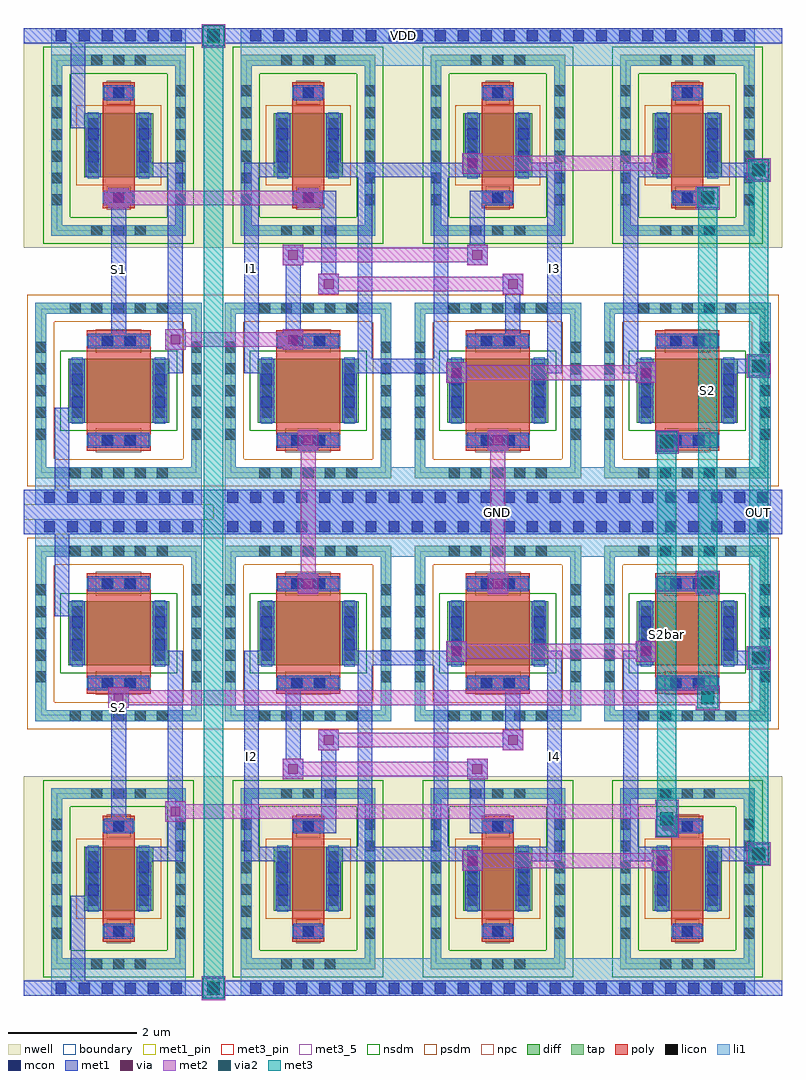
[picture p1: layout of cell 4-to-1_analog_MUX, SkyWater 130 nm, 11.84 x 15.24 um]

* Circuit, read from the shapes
.subckt 4-to-1_analog_MUX GND I1 I2 I3 I4 OUT S1 S2 S2bar VDD
XM1 S2bar S2 GND GND sky130_fd_pr__nfet_01v8 w=1 l=1
XM2 Inverter_7/Vout S1 GND GND sky130_fd_pr__nfet_01v8 w=1 l=1
XM3 n1 Inverter_7/Vout I2 GND sky130_fd_pr__nfet_01v8 w=1 l=1
XM4 n2 Inverter_7/Vout I1 GND sky130_fd_pr__nfet_01v8 w=1 l=1
XM5 I4 S1 n1 GND sky130_fd_pr__nfet_01v8 w=1 l=1
XM6 I3 S1 n2 GND sky130_fd_pr__nfet_01v8 w=1 l=1
XM7 OUT S2 n1 GND sky130_fd_pr__nfet_01v8 w=1 l=1
XM8 OUT S2bar n2 GND sky130_fd_pr__nfet_01v8 w=1 l=1
XM9 S2bar S2 VDD VDD sky130_fd_pr__pfet_01v8 w=1 l=0.5
XM10 Inverter_7/Vout S1 VDD VDD sky130_fd_pr__pfet_01v8 w=1 l=0.5
XM11 n1 S1 I2 VDD sky130_fd_pr__pfet_01v8 w=1 l=0.5
XM12 n2 S1 I1 VDD sky130_fd_pr__pfet_01v8 w=1 l=0.5
XM13 I4 Inverter_7/Vout n1 VDD sky130_fd_pr__pfet_01v8 w=1 l=0.5
XM14 I3 Inverter_7/Vout n2 VDD sky130_fd_pr__pfet_01v8 w=1 l=0.5
XM15 OUT S2bar n1 VDD sky130_fd_pr__pfet_01v8 w=1 l=0.5
XM16 OUT S2 n2 VDD sky130_fd_pr__pfet_01v8 w=1 l=0.5
.ends

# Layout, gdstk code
import gdstk
lib = gdstk.Library(unit=1e-6, precision=1e-09)
def R(c, l, rs):  # rectangles x0, y0, x1, y1
    for r in rs: c.add(gdstk.rectangle(r[:2], r[2:], *l))
def A(c, l, x, y, w, h, nx, ny, dx, dy):  # array of equal rectangles
    R(c, l, [(x+i*dx, y+j*dy, x+i*dx+w, y+j*dy+h) for i in range(nx) for j in range(ny)])
nwell = (64, 20)
diff = (65, 20)
tap = (65, 44)
poly = (66, 20)
licon = (66, 44)
li1 = (67, 20)
mcon = (67, 44)
met1_pin = (68, 16)
met1 = (68, 20)
via = (68, 44)
met2 = (69, 20)
via2 = (69, 44)
met3_5 = (70, 5)
met3_pin = (70, 16)
met3 = (70, 20)
nsdm = (93, 44)
psdm = (94, 20)
npc = (95, 20)
boundary = (235, 4)

sky130_fd_pr__pfet_01v8_ = lib.new_cell('sky130_fd_pr__pfet_01v8_U6BDKB')
R(sky130_fd_pr__pfet_01v8_, nwell, [(-1.23,-1.595,1.23,1.595)])
R(sky130_fd_pr__pfet_01v8_, diff, [(-0.54,-0.5,0.54,0.5)])
R(sky130_fd_pr__pfet_01v8_, tap, [(-1.05,-1.415,1.05,-1.245), (-1.05,-1.245,-0.88,1.245), (0.88,-1.245,1.05,1.245), (-1.05,1.245,1.05,1.415)])
R(sky130_fd_pr__pfet_01v8_, poly, [(-0.25,-0.985,0.25,0.985)])
A(sky130_fd_pr__pfet_01v8_, licon, -0.425, -1.415, 0.17, 0.17, 3, 2, 0.34, 2.66)
A(sky130_fd_pr__pfet_01v8_, licon, -1.05, -0.935, 0.17, 0.17, 1, 6, 0, 0.34)
A(sky130_fd_pr__pfet_01v8_, licon, 0.88, -0.935, 0.17, 0.17, 1, 6, 0, 0.34)
A(sky130_fd_pr__pfet_01v8_, licon, -0.48, -0.425, 0.17, 0.17, 1, 3, 0, 0.34)
A(sky130_fd_pr__pfet_01v8_, licon, 0.31, -0.425, 0.17, 0.17, 1, 3, 0, 0.34)
R(sky130_fd_pr__pfet_01v8_, licon, [(-0.085,-0.905,0.085,-0.735), (-0.085,0.735,0.085,0.905)])
R(sky130_fd_pr__pfet_01v8_, li1, [(-1.05,-1.415,1.05,-1.245), (-1.05,-1.245,-0.88,1.245), (0.88,-1.245,1.05,1.245), (-0.25,-0.905,0.25,-0.735), (-0.48,-0.52,-0.31,0.52), (0.31,-0.52,0.48,0.52), (-0.25,0.735,0.25,0.905), (-1.05,1.245,1.05,1.415)])
R(sky130_fd_pr__pfet_01v8_, mcon, [(-0.085,-0.905,0.085,-0.735), (-0.48,-0.265,-0.31,-0.095), (0.31,-0.265,0.48,-0.095), (-0.48,0.095,-0.31,0.265), (0.31,0.095,0.48,0.265), (-0.085,0.735,0.085,0.905)])
R(sky130_fd_pr__pfet_01v8_, met1, [(-0.23,-0.935,0.23,-0.705), (-0.51,-0.5,-0.28,0.5), (0.28,-0.5,0.51,0.5), (-0.23,0.705,0.23,0.935)])
R(sky130_fd_pr__pfet_01v8_, nsdm, [(-1.175,-1.54,1.175,-1.12), (-1.175,-1.12,-0.755,1.12), (0.755,-1.12,1.175,1.12), (-1.175,1.12,1.175,1.54)])
R(sky130_fd_pr__pfet_01v8_, psdm, [(-0.665,-0.625,0.665,0.625)])
R(sky130_fd_pr__pfet_01v8_, npc, [(-0.185,-1.005,0.185,-0.635), (-0.185,0.635,0.185,1.005)])
R(sky130_fd_pr__pfet_01v8_, boundary, [(-0.965,-1.33,0.965,1.33)])

sky130_fd_pr__nfet_01v8_ = lib.new_cell('sky130_fd_pr__nfet_01v8_JZTGL9')
R(sky130_fd_pr__nfet_01v8_, diff, [(-0.79,-0.5,0.79,0.5)])
R(sky130_fd_pr__nfet_01v8_, tap, [(-1.3,-1.37,1.3,-1.2), (-1.3,-1.2,-1.13,1.2), (1.13,-1.2,1.3,1.2), (-1.3,1.2,1.3,1.37)])
R(sky130_fd_pr__nfet_01v8_, poly, [(-0.5,-0.94,0.5,0.94)])
A(sky130_fd_pr__nfet_01v8_, licon, -0.765, -1.37, 0.17, 0.17, 5, 2, 0.34, 2.57)
A(sky130_fd_pr__nfet_01v8_, licon, -1.3, -0.765, 0.17, 0.17, 1, 5, 0, 0.34)
A(sky130_fd_pr__nfet_01v8_, licon, 1.13, -0.765, 0.17, 0.17, 1, 5, 0, 0.34)
A(sky130_fd_pr__nfet_01v8_, licon, -0.73, -0.425, 0.17, 0.17, 1, 3, 0, 0.34)
A(sky130_fd_pr__nfet_01v8_, licon, 0.56, -0.425, 0.17, 0.17, 1, 3, 0, 0.34)
R(sky130_fd_pr__nfet_01v8_, licon, [(-0.255,-0.86,-0.085,-0.69), (0.085,-0.86,0.255,-0.69), (-0.255,0.69,-0.085,0.86), (0.085,0.69,0.255,0.86)])
R(sky130_fd_pr__nfet_01v8_, li1, [(-1.3,-1.37,1.3,-1.2), (-1.3,-1.2,-1.13,1.2), (1.13,-1.2,1.3,1.2), (-0.5,-0.86,0.5,-0.69), (-0.73,-0.52,-0.56,0.52), (0.56,-0.52,0.73,0.52), (-0.5,0.69,0.5,0.86), (-1.3,1.2,1.3,1.37)])
R(sky130_fd_pr__nfet_01v8_, mcon, [(-0.265,-0.86,-0.095,-0.69), (0.095,-0.86,0.265,-0.69), (-0.73,-0.265,-0.56,-0.095), (0.56,-0.265,0.73,-0.095), (-0.73,0.095,-0.56,0.265), (0.56,0.095,0.73,0.265), (-0.265,0.69,-0.095,0.86), (0.095,0.69,0.265,0.86)])
R(sky130_fd_pr__nfet_01v8_, met1, [(-0.48,-0.89,0.48,-0.66), (-0.76,-0.5,-0.53,0.5), (0.53,-0.5,0.76,0.5), (-0.48,0.66,0.48,0.89)])
R(sky130_fd_pr__nfet_01v8_, nsdm, [(-0.915,-0.625,0.915,0.625)])
R(sky130_fd_pr__nfet_01v8_, psdm, [(-1.425,-1.495,1.425,-1.075), (-1.425,-1.075,-1.005,1.075), (1.005,-1.075,1.425,1.075), (-1.425,1.075,1.425,1.495)])
R(sky130_fd_pr__nfet_01v8_, npc, [(-0.355,-0.96,0.355,-0.59), (-0.355,0.59,0.355,0.96)])
R(sky130_fd_pr__nfet_01v8_, boundary, [(-1.21,-1.28,1.21,1.28)])

inverter = lib.new_cell('Inverter')
R(inverter, li1, [(6.655,-5.095,9.255,-4.515), (6.905,1.76,9.005,2.34)])
A(inverter, mcon, 6.79, -5.065, 0.17, 0.17, 7, 1, 0.36, 0)
A(inverter, mcon, 6.97, 2.14, 0.17, 0.17, 6, 1, 0.36, 0)
R(inverter, met1_pin, [(6.475,-5.095,9.435,-4.865), (8.725,-3.045,8.955,0.245), (7.84,-2.655,8.07,-0.19), (6.475,2.11,9.435,2.34)])
R(inverter, met1, [(6.475,-5.095,9.435,-4.865), (6.955,-4.865,7.185,-3.815), (6.955,-3.815,7.195,-3.585), (8.715,-3.045,8.955,-2.815), (8.725,-2.815,8.955,0.015), (7.84,-2.655,8.07,-0.19), (8.465,0.015,8.955,0.245), (7.205,0.785,7.445,1.015), (7.205,1.015,7.435,2.11), (6.475,2.11,9.435,2.34)])
inverter.add(gdstk.Reference(sky130_fd_pr__pfet_01v8_, (7.955,0.515)))
inverter.add(gdstk.Reference(sky130_fd_pr__nfet_01v8_, (7.955,-3.315)))
inverter.add(gdstk.Label('Vin', (7.955,-1.422), layer=68, texttype=5))
inverter.add(gdstk.Label('Vout', (8.84,-1.4), layer=68, texttype=5))
inverter.add(gdstk.Label('GND', (7.955,-4.98), layer=68, texttype=5))
inverter.add(gdstk.Label('VDD', (7.955,2.225), layer=68, texttype=5))

c_4_to_1_analog_mux = lib.new_cell('4-to-1_analog_MUX')
R(c_4_to_1_analog_mux, nwell, [(-3.56,-15.765,8.28,-12.575), (-3.56,-4.315,8.28,-1.125)])
R(c_4_to_1_analog_mux, li1, [(-0.17,-15.995,7.85,-15.415), (-0.42,-9.14,8.1,-7.75), (-0.17,-1.475,7.85,-0.895)])
A(c_4_to_1_analog_mux, mcon, -0.025, -15.965, 0.17, 0.17, 22, 2, 0.36, 14.87)
A(c_4_to_1_analog_mux, mcon, -0.385, -8.76, 0.17, 0.17, 24, 2, 0.36, 0.46)
R(c_4_to_1_analog_mux, met1_pin, [(-0.12,-13.9,0.11,-10.61), (4.61,-13.9,4.84,-10.61), (-2.195,-11.505,-1.965,-11.475), (-0.6,-8.79,8.28,-8.1), (-0.12,-6.28,0.11,-2.99), (4.61,-6.28,4.84,-2.99), (-2.195,-5.89,-1.965,-3.425), (-3.56,-1.125,8.28,-0.895)])
R(c_4_to_1_analog_mux, met1, [(-0.76,-16.04,-0.44,-15.995), (-0.76,-15.995,8.28,-15.765), (-0.76,-15.765,-0.44,-15.72), (3.285,-14.05,3.605,-13.9), (6.245,-14.05,6.565,-13.9), (7.755,-13.945,8.075,-13.9), (-0.12,-13.9,0.37,-13.67), (1.39,-13.9,3.605,-13.73), (4.35,-13.9,4.84,-13.67), (5.8,-13.9,6.565,-13.73), (7.31,-13.9,8.075,-13.67), (1.39,-13.73,3.33,-13.67), (5.8,-13.73,6.29,-13.67), (-0.12,-13.67,0.11,-10.84), (1.65,-13.67,1.88,-10.84), (2.84,-13.67,3.07,-10.84), (4.61,-13.67,4.84,-10.84), (5.8,-13.67,6.03,-10.84), (7.755,-13.67,8.075,-13.625), (6.32,-13.51,6.64,-13.465), (0.65,-13.465,1.315,-13.235), (3.405,-13.465,4.07,-13.235), (6.32,-13.465,7.03,-13.235), (-1.355,-13.28,-1.035,-12.96), (1.085,-13.235,1.315,-12.165), (3.405,-13.235,3.635,-12.62), (6.32,-13.235,6.64,-13.19), (0.485,-12.62,0.805,-12.3), (3.36,-12.62,3.68,-12.3), (0.53,-12.3,0.76,-11), (1.04,-12.165,1.36,-11.845), (3.915,-12.165,4.235,-11.845), (3.96,-11.845,4.19,-11), (-2.24,-11.505,-1.92,-11.185), (7.755,-10.885,8.075,-10.84), (-0.12,-10.84,0.12,-10.61), (1.64,-10.84,3.08,-10.78), (4.6,-10.84,4.84,-10.61), (5.8,-10.84,6.04,-10.78), (7.56,-10.84,8.075,-10.61), (1.64,-10.78,3.355,-10.61), (5.8,-10.78,6.315,-10.61), (3.035,-10.61,3.355,-10.46), (5.995,-10.61,6.315,-10.46), (7.755,-10.61,8.075,-10.565), (0.72,-9.725,1.04,-9.405), (3.68,-9.725,4,-9.405), (6.96,-9.705,7.28,-9.385), (-3.56,-8.79,8.28,-8.1), (6.32,-7.51,6.64,-7.19), (0.72,-7.485,1.04,-7.165), (3.68,-7.485,4,-7.165), (3.035,-6.43,3.355,-6.28), (5.995,-6.43,6.315,-6.28), (7.755,-6.325,8.075,-6.28), (-0.12,-6.28,0.12,-6.05), (1.64,-6.28,3.355,-6.11), (4.6,-6.28,4.84,-6.05), (5.8,-6.28,6.315,-6.11), (7.56,-6.28,8.075,-6.05), (1.64,-6.11,3.08,-6.05), (5.8,-6.11,6.04,-6.05), (-0.12,-6.05,0.11,-3.22), (1.65,-6.05,1.88,-3.22), (2.84,-6.05,3.07,-3.22), (4.61,-6.05,4.84,-3.22), (5.8,-6.05,6.03,-3.22), (7.755,-6.05,8.075,-6.005), (-1.355,-5.91,-1.035,-5.59), (0.485,-5.91,0.805,-5.89), (-2.195,-5.89,-1.965,-3.7), (0.4,-5.89,1.36,-5.66), (3.96,-5.89,4.19,-5.045), (0.485,-5.66,0.805,-5.59), (0.53,-5.59,0.76,-4.59), (1.04,-5.045,1.36,-4.725), (3.915,-5.045,4.235,-4.725), (1.085,-4.725,1.315,-3.7), (0.485,-4.59,0.805,-4.27), (3.36,-4.59,3.68,-4.27), (3.405,-4.27,3.635,-3.655), (-2.24,-3.7,-1.92,-3.38), (0.72,-3.7,1.315,-3.655), (6.96,-3.7,7.28,-3.655), (0.65,-3.655,1.315,-3.425), (3.405,-3.655,4.07,-3.425), (6.57,-3.655,7.28,-3.425), (0.72,-3.425,1.04,-3.38), (6.96,-3.425,7.28,-3.38), (7.755,-3.265,8.075,-3.22), (-0.12,-3.22,0.37,-2.99), (1.39,-3.22,3.33,-3.16), (4.35,-3.22,4.84,-2.99), (5.8,-3.22,6.29,-3.16), (7.31,-3.22,8.075,-2.99), (1.39,-3.16,3.605,-2.99), (5.8,-3.16,6.565,-2.99), (3.285,-2.99,3.605,-2.84), (6.245,-2.99,6.565,-2.84), (7.755,-2.99,8.075,-2.945), (-0.76,-1.17,-0.44,-1.125), (-3.56,-1.125,8.28,-0.895), (-0.76,-0.895,-0.44,-0.85)])
R(c_4_to_1_analog_mux, via, [(-0.675,-15.955,-0.525,-15.805), (3.37,-13.965,3.52,-13.815), (6.33,-13.965,6.48,-13.815), (7.84,-13.86,7.99,-13.71), (6.405,-13.425,6.555,-13.275), (-1.27,-13.195,-1.12,-13.045), (0.57,-12.535,0.72,-12.385), (3.445,-12.535,3.595,-12.385), (1.125,-12.08,1.275,-11.93), (4,-12.08,4.15,-11.93), (-2.155,-11.42,-2.005,-11.27), (7.84,-10.8,7.99,-10.65), (3.12,-10.695,3.27,-10.545), (6.08,-10.695,6.23,-10.545), (0.805,-9.64,0.955,-9.49), (3.765,-9.64,3.915,-9.49), (7.045,-9.62,7.195,-9.47), (6.405,-7.425,6.555,-7.275), (0.805,-7.4,0.955,-7.25), (3.765,-7.4,3.915,-7.25), (3.12,-6.345,3.27,-6.195), (6.08,-6.345,6.23,-6.195), (7.84,-6.24,7.99,-6.09), (-1.27,-5.825,-1.12,-5.675), (0.57,-5.825,0.72,-5.675), (1.125,-4.96,1.275,-4.81), (4,-4.96,4.15,-4.81), (0.57,-4.505,0.72,-4.355), (3.445,-4.505,3.595,-4.355), (-2.155,-3.615,-2.005,-3.465), (0.805,-3.615,0.955,-3.465), (7.045,-3.615,7.195,-3.465), (7.84,-3.18,7.99,-3.03), (3.37,-3.075,3.52,-2.925), (6.33,-3.075,6.48,-2.925), (-0.675,-1.085,-0.525,-0.935)])
R(c_4_to_1_analog_mux, met2, [(-0.785,-16.065,-0.415,-15.695), (3.285,-14.05,3.605,-14.005), (6.245,-14.05,6.565,-14.005), (3.285,-14.005,6.565,-13.775), (7.73,-13.97,8.1,-13.6), (3.285,-13.775,3.605,-13.73), (6.245,-13.775,6.565,-13.73), (6.295,-13.535,6.665,-13.235), (-1.355,-13.28,-1.035,-13.235), (-1.355,-13.235,6.665,-13.005), (-1.355,-13.005,-1.035,-12.96), (6.295,-13.005,6.665,-12.935), (0.485,-12.62,0.805,-12.575), (3.36,-12.62,3.68,-12.575), (0.485,-12.575,3.68,-12.345), (0.485,-12.345,0.805,-12.3), (3.36,-12.345,3.68,-12.3), (1.04,-12.165,1.36,-12.12), (3.915,-12.165,4.235,-12.12), (1.04,-12.12,4.235,-11.89), (1.04,-11.89,1.36,-11.845), (3.915,-11.89,4.235,-11.845), (6.935,-11.53,7.305,-11.46), (-2.24,-11.505,-1.92,-11.46), (-2.24,-11.46,7.305,-11.23), (-2.24,-11.23,-1.92,-11.185), (6.935,-11.23,7.305,-11.16), (7.73,-10.91,8.1,-10.54), (3.035,-10.78,3.355,-10.735), (5.995,-10.78,6.315,-10.735), (3.035,-10.735,6.315,-10.505), (3.035,-10.505,3.355,-10.46), (5.995,-10.505,6.315,-10.46), (6.935,-9.73,7.305,-9.36), (0.72,-9.725,1.04,-9.405), (3.68,-9.725,4,-9.405), (0.765,-9.405,0.995,-7.485), (3.725,-9.405,3.955,-7.485), (6.295,-7.535,6.665,-7.165), (0.72,-7.485,1.04,-7.165), (3.68,-7.485,4,-7.165), (3.035,-6.43,3.355,-6.385), (5.995,-6.43,6.315,-6.385), (3.035,-6.385,6.315,-6.155), (7.73,-6.35,8.1,-5.98), (3.035,-6.155,3.355,-6.11), (5.995,-6.155,6.315,-6.11), (-1.355,-5.91,-1.035,-5.865), (0.485,-5.91,0.805,-5.865), (-1.355,-5.865,0.805,-5.635), (-1.355,-5.635,-1.035,-5.59), (0.485,-5.635,0.805,-5.59), (1.04,-5.045,1.36,-5), (3.915,-5.045,4.235,-5), (1.04,-5,4.235,-4.77), (1.04,-4.77,1.36,-4.725), (3.915,-4.77,4.235,-4.725), (0.485,-4.59,0.805,-4.545), (3.36,-4.59,3.68,-4.545), (0.485,-4.545,3.68,-4.315), (0.485,-4.315,0.805,-4.27), (3.36,-4.315,3.68,-4.27), (6.935,-3.725,7.305,-3.355), (-2.24,-3.7,-1.92,-3.655), (0.72,-3.7,1.04,-3.655), (-2.31,-3.655,1.11,-3.425), (-2.24,-3.425,-1.92,-3.38), (0.72,-3.425,1.04,-3.38), (7.73,-3.29,8.1,-2.92), (3.285,-3.16,3.605,-3.115), (6.245,-3.16,6.565,-3.115), (3.285,-3.115,6.565,-2.885), (3.285,-2.885,3.605,-2.84), (6.245,-2.885,6.565,-2.84), (-0.785,-1.195,-0.415,-0.825)])
R(c_4_to_1_analog_mux, via2, [(-0.7,-15.98,-0.5,-15.78), (7.815,-13.885,8.015,-13.685), (6.38,-13.335,6.58,-13.135), (7.02,-11.445,7.22,-11.245), (7.815,-10.825,8.015,-10.625), (7.02,-9.645,7.22,-9.445), (6.38,-7.45,6.58,-7.25), (7.815,-6.265,8.015,-6.065), (7.02,-3.64,7.22,-3.44), (7.815,-3.205,8.015,-3.005), (-0.7,-1.11,-0.5,-0.91)])
R(c_4_to_1_analog_mux, met3_5, [(6.33,-13.21,6.63,-7.49), (6.97,-9.405,7.27,-3.68)])
R(c_4_to_1_analog_mux, met3_pin, [(7.765,-13.915,8.065,-2.975)])
R(c_4_to_1_analog_mux, met3, [(-0.765,-16.045,-0.435,-15.715), (-0.75,-15.715,-0.45,-1.175), (7.75,-13.95,8.08,-13.62), (7.765,-13.62,8.065,-10.89), (6.315,-13.515,6.645,-12.955), (6.33,-12.955,6.63,-7.515), (6.955,-11.51,7.285,-11.18), (6.97,-11.18,7.27,-9.71), (7.75,-10.89,8.08,-10.56), (7.765,-10.56,8.065,-6.33), (6.955,-9.71,7.285,-9.38), (6.97,-9.38,7.27,-3.705), (6.315,-7.515,6.645,-7.185), (7.75,-6.33,8.08,-6), (7.765,-6,8.065,-3.27), (6.955,-3.705,7.285,-3.375), (7.75,-3.27,8.08,-2.94), (-0.765,-1.175,-0.435,-0.845)])
A(c_4_to_1_analog_mux, psdm, -0.655, -11.835, 0.11, 2.99, 3, 2, 2.96, 3.79)
c_4_to_1_analog_mux.add(gdstk.Reference(inverter, (-10.035,-13.655), x_reflection=True))
c_4_to_1_analog_mux.add(gdstk.Reference(sky130_fd_pr__nfet_01v8_, (0.88,-10.34), x_reflection=True))
c_4_to_1_analog_mux.add(gdstk.Reference(sky130_fd_pr__pfet_01v8_, (0.88,-14.17), x_reflection=True))
c_4_to_1_analog_mux.add(gdstk.Reference(sky130_fd_pr__nfet_01v8_, (3.84,-10.34), x_reflection=True))
c_4_to_1_analog_mux.add(gdstk.Reference(sky130_fd_pr__pfet_01v8_, (3.84,-14.17), x_reflection=True))
c_4_to_1_analog_mux.add(gdstk.Reference(sky130_fd_pr__nfet_01v8_, (6.8,-10.34), x_reflection=True))
c_4_to_1_analog_mux.add(gdstk.Reference(sky130_fd_pr__pfet_01v8_, (6.8,-14.17), x_reflection=True))
c_4_to_1_analog_mux.add(gdstk.Reference(inverter, (-10.035,-3.235)))
c_4_to_1_analog_mux.add(gdstk.Reference(sky130_fd_pr__nfet_01v8_, (0.88,-6.55)))
c_4_to_1_analog_mux.add(gdstk.Reference(sky130_fd_pr__pfet_01v8_, (0.88,-2.72)))
c_4_to_1_analog_mux.add(gdstk.Reference(sky130_fd_pr__nfet_01v8_, (3.84,-6.55)))
c_4_to_1_analog_mux.add(gdstk.Reference(sky130_fd_pr__pfet_01v8_, (3.84,-2.72)))
c_4_to_1_analog_mux.add(gdstk.Reference(sky130_fd_pr__nfet_01v8_, (6.8,-6.55)))
c_4_to_1_analog_mux.add(gdstk.Reference(sky130_fd_pr__pfet_01v8_, (6.8,-2.72)))
c_4_to_1_analog_mux.add(gdstk.Label('S2bar', (6.48,-10.35), layer=70, texttype=5))
c_4_to_1_analog_mux.add(gdstk.Label('S2', (7.12,-6.542), layer=70, texttype=5))
c_4_to_1_analog_mux.add(gdstk.Label('GND', (3.84,-8.445), layer=68, texttype=5))
c_4_to_1_analog_mux.add(gdstk.Label('I1', (-0.005,-4.635), layer=68, texttype=5))
c_4_to_1_analog_mux.add(gdstk.Label('I2', (-0.005,-12.255), layer=68, texttype=5))
c_4_to_1_analog_mux.add(gdstk.Label('I3', (4.725,-4.635), layer=68, texttype=5))
c_4_to_1_analog_mux.add(gdstk.Label('I4', (4.725,-12.255), layer=68, texttype=5))
c_4_to_1_analog_mux.add(gdstk.Label('S1', (-2.08,-4.657), layer=68, texttype=5))
c_4_to_1_analog_mux.add(gdstk.Label('S2', (-2.08,-11.49), layer=68, texttype=5))
c_4_to_1_analog_mux.add(gdstk.Label('VDD', (2.36,-1.01), layer=68, texttype=5))
c_4_to_1_analog_mux.add(gdstk.Label('OUT', (7.915,-8.445), layer=70, texttype=5))

lib.write_gds('4-to-1_analog_MUX.gds')
